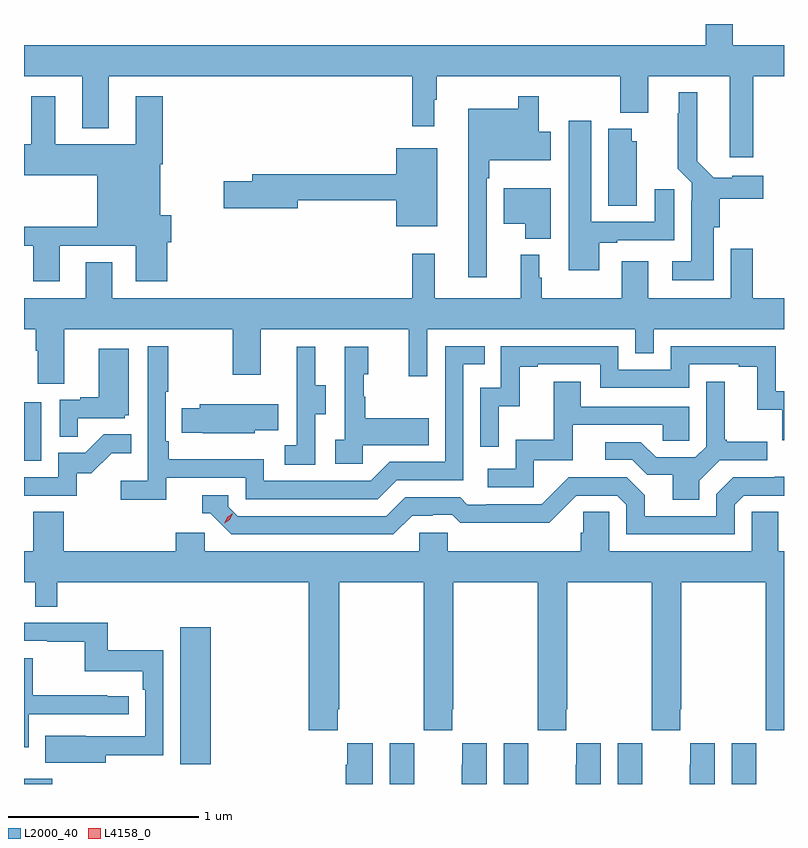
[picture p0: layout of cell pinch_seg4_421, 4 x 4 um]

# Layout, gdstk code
import gdstk
lib = gdstk.Library(unit=1e-6, precision=1e-09)
def R(c, l, rs):  # rectangles x0, y0, x1, y1
    for r in rs: c.add(gdstk.rectangle(r[:2], r[2:], *l))
def P(c, l, *ps):  # polygons
    for p in ps: c.add(gdstk.Polygon(p, *l))
L2000_40 = (2000, 40)
L4158_0 = (4158, 0)

pinch_seg4_421 = lib.new_cell('pinch_seg4_421')
R(pinch_seg4_421, L2000_40, [(932.848,777.111,932.996,777.139), (933.671,777.216,933.832,777.937), (932.848,778.812,932.938,779.119)])
P(pinch_seg4_421, L2000_40, [(936.686,780.836),(936.848,780.836),(936.848,781),(936.577,781),(936.577,781.111),(936.437,781.111),(936.437,781),(932.848,781),(932.848,780.836),(933.155,780.836),(933.155,780.563),(933.295,780.563),(933.295,780.836),(934.891,780.836),(934.891,780.573),(935.008,780.573),(935.008,780.713),(935.02,780.713),(935.02,780.836),(935.986,780.836),(935.986,780.644),(936.133,780.644),(936.133,780.836),(936.563,780.836),(936.563,780.411),(936.686,780.411)],
  [(936.478,780.042),(936.509,780.042),(936.509,780.191),(936.739,780.191),(936.739,780.313),(936.576,780.313),(936.576,780.301),(936.477,780.301),(936.391,780.388),(936.391,780.751),(936.293,780.751),(936.293,780.641),(936.289,780.641),(936.289,780.35),(936.363,780.276),(936.363,780.182),(936.359,780.182),(936.359,779.863),(936.261,779.863),(936.261,779.762),(936.478,779.762)],
  [(933.037,779.943),(933.437,779.943),(933.437,779.757),(933.602,779.757),(933.602,779.962),(933.622,779.962),(933.622,780.104),(933.565,780.104),(933.565,780.374),(933.578,780.374),(933.578,780.73),(933.437,780.73),(933.437,780.478),(933.013,780.478),(933.013,780.73),(932.885,780.73),(932.885,780.478),(932.848,780.478),(932.848,780.314),(933.233,780.314),(933.233,780.044),(932.848,780.044),(932.848,779.943),(932.897,779.943),(932.897,779.757),(933.037,779.757)],
  [(935.283,780.299),(935.296,780.299),(935.296,780.395),(935.62,780.395),(935.62,780.543),(935.557,780.543),(935.557,780.73),(935.448,780.73),(935.448,780.664),(935.186,780.664),(935.186,779.778),(935.283,779.778)],
  [(935.875,779.961),(935.971,779.961),(935.971,779.973),(936.271,779.973),(936.271,780.241),(936.167,780.241),(936.167,780.069),(935.833,780.069),(935.833,780.601),(935.714,780.601),(935.714,779.814),(935.875,779.814)],
  [(936.073,780.495),(936.046,780.495),(936.046,780.559),(935.924,780.559),(935.924,780.154),(936.073,780.154)],
  [(935.023,780.457),(934.808,780.457),(934.808,780.32),(934.049,780.32),(934.049,780.284),(933.9,780.284),(933.9,780.142),(934.288,780.142),(934.288,780.184),(934.808,780.184),(934.808,780.047),(935.023,780.047)],
  [(935.62,780.247),(935.372,780.247),(935.372,780.059),(935.486,780.059),(935.486,779.981),(935.62,779.981)],
  [(933.061,779.504),(933.946,779.504),(933.946,779.265),(934.093,779.265),(934.093,779.504),(934.874,779.504),(934.874,779.256),(934.971,779.256),(934.971,779.504),(936.066,779.504),(936.066,779.377),(936.162,779.377),(936.162,779.504),(936.848,779.504),(936.848,779.668),(936.683,779.668),(936.683,779.929),(936.567,779.929),(936.567,779.668),(936.133,779.668),(936.133,779.863),(935.993,779.863),(935.993,779.668),(935.572,779.668),(935.572,779.775),(935.56,779.775),(935.56,779.896),(935.462,779.896),(935.462,779.668),(935.009,779.668),(935.009,779.902),(934.891,779.902),(934.891,779.668),(933.313,779.668),(933.313,779.858),(933.173,779.858),(933.173,779.668),(932.848,779.668),(932.848,779.504),(932.909,779.504),(932.909,779.392),(932.921,779.392),(932.921,779.218),(933.061,779.218)],
  [(933.596,778.722),(934.014,778.722),(934.014,778.611),(934.711,778.611),(934.81,778.71),(935.16,778.71),(935.16,779.319),(935.273,779.319),(935.273,779.415),(935.064,779.415),(935.064,778.806),(934.773,778.806),(934.674,778.707),(934.11,778.707),(934.11,778.819),(933.611,778.819),(933.611,778.915),(933.594,778.915),(933.594,779.176),(933.607,779.176),(933.607,779.416),(933.498,779.416),(933.498,778.708),(933.357,778.708),(933.357,778.606),(933.596,778.606)],
  [(935.346,779.099),(935.456,779.099),(935.456,779.307),(935.551,779.307),(935.551,779.319),(935.88,779.319),(935.88,779.196),(936.348,779.196),(936.348,779.319),(936.611,779.319),(936.611,779.307),(936.707,779.307),(936.707,779.081),(936.84,779.081),(936.84,778.92),(936.848,778.92),(936.848,779.179),(936.804,779.179),(936.804,779.415),(936.252,779.415),(936.252,779.292),(935.976,779.292),(935.976,779.415),(935.358,779.415),(935.358,779.196),(935.25,779.196),(935.25,778.887),(935.346,778.887)],
  [(934.38,779.056),(934.435,779.056),(934.435,779.211),(934.381,779.211),(934.381,779.413),(934.283,779.413),(934.283,779.199),(934.284,779.199),(934.284,778.895),(934.221,778.895),(934.221,778.792),(934.38,778.792)],
  [(934.632,778.895),(934.979,778.895),(934.979,779.035),(934.645,779.035),(934.645,779.15),(934.635,779.15),(934.635,779.268),(934.66,779.268),(934.66,779.413),(934.536,779.413),(934.536,778.922),(934.485,778.922),(934.485,778.797),(934.632,778.797)],
  [(933.131,779.037),(933.378,779.037),(933.378,779.052),(933.4,779.052),(933.4,779.401),(933.242,779.401),(933.242,779.146),(933.143,779.146),(933.143,779.133),(933.036,779.133),(933.036,778.939),(933.131,778.939)],
  [(936.403,778.708),(936.51,778.815),(936.76,778.815),(936.76,778.912),(936.547,778.912),(936.547,778.924),(936.535,778.924),(936.535,779.227),(936.438,779.227),(936.438,778.887),(936.381,778.83),(936.175,778.83),(936.094,778.911),(935.907,778.911),(935.907,778.818),(936.048,778.818),(936.128,778.738),(936.263,778.738),(936.263,778.606),(936.403,778.606)],
  [(935.532,778.815),(935.737,778.815),(935.737,779.001),(936.211,779.001),(936.211,778.917),(936.348,778.917),(936.348,779.097),(935.779,779.097),(935.779,779.227),(935.635,779.227),(935.635,778.924),(935.436,778.924),(935.436,778.77),(935.289,778.77),(935.289,778.674),(935.532,778.674)],
  [(934.062,778.973),(934.187,778.973),(934.187,779.11),(933.773,779.11),(933.773,779.088),(933.679,779.088),(933.679,778.959),(933.79,778.959),(933.79,778.958),(934.062,778.958)],
  [(933.126,778.746),(933.202,778.746),(933.309,778.853),(933.413,778.853),(933.413,778.952),(933.269,778.952),(933.171,778.854),(933.027,778.854),(933.027,778.725),(932.848,778.725),(932.848,778.629),(933.126,778.629)],
  [(934.891,778.524),(934.998,778.524),(934.998,778.527),(935.101,778.527),(935.143,778.485),(935.376,778.485),(935.376,778.487),(935.612,778.487),(935.754,778.629),(935.97,778.629),(936.018,778.581),(936.018,778.425),(936.588,778.425),(936.588,778.581),(936.636,778.629),(936.848,778.629),(936.848,778.727),(936.798,778.727),(936.798,778.725),(936.582,778.725),(936.492,778.635),(936.492,778.521),(936.115,778.521),(936.115,778.631),(936.021,778.725),(935.715,778.725),(935.574,778.584),(935.281,778.584),(935.281,778.581),(935.182,778.581),(935.143,778.62),(934.854,778.62),(934.755,778.521),(933.972,778.521),(933.924,778.569),(933.924,778.632),(933.785,778.632),(933.785,778.536),(933.828,778.536),(933.939,778.425),(934.792,778.425)],
  [(934.499,777.505),(934.506,777.505),(934.506,778.172),(934.951,778.172),(934.951,777.505),(934.953,777.505),(934.953,777.393),(935.103,777.393),(935.103,777.505),(935.106,777.505),(935.106,778.172),(935.551,778.172),(935.551,777.505),(935.553,777.505),(935.553,777.393),(935.703,777.393),(935.703,777.505),(935.706,777.505),(935.706,778.172),(936.151,778.172),(936.151,777.505),(936.153,777.505),(936.153,777.393),(936.303,777.393),(936.303,777.505),(936.306,777.505),(936.306,778.172),(936.751,778.172),(936.751,777.505),(936.753,777.505),(936.753,777.393),(936.848,777.393),(936.848,778.336),(936.817,778.336),(936.817,778.544),(936.678,778.544),(936.678,778.336),(935.928,778.336),(935.928,778.544),(935.791,778.544),(935.791,778.434),(935.777,778.434),(935.777,778.336),(935.079,778.336),(935.079,778.434),(934.929,778.434),(934.929,778.336),(933.798,778.336),(933.798,778.434),(933.647,778.434),(933.647,778.336),(933.056,778.336),(933.056,778.544),(932.896,778.544),(932.896,778.336),(932.848,778.336),(932.848,778.172),(932.907,778.172),(932.907,778.045),(933.023,778.045),(933.023,778.172),(934.346,778.172),(934.346,777.393),(934.499,777.393)],
  [(933.277,777.262),(933.582,777.262),(933.582,777.814),(933.289,777.814),(933.289,777.96),(932.848,777.96),(932.848,777.864),(932.971,777.864),(932.971,777.859),(933.168,777.859),(933.168,777.704),(933.473,777.704),(933.473,777.608),(933.486,777.608),(933.486,777.363),(933.173,777.363),(933.173,777.364),(932.959,777.364),(932.959,777.224),(933.277,777.224)],
  [(932.874,777.477),(933.4,777.477),(933.4,777.573),(933.287,777.573),(933.287,777.578),(932.894,777.578),(932.894,777.774),(932.848,777.774),(932.848,777.305),(932.874,777.305)],
  [(935.884,777.325),(935.754,777.325),(935.754,777.212),(935.753,777.212),(935.753,777.111),(935.884,777.111)],
  [(936.103,777.212),(936.102,777.212),(936.102,777.325),(935.972,777.325),(935.972,777.111),(936.103,777.111)],
  [(936.484,777.325),(936.354,777.325),(936.354,777.212),(936.353,777.212),(936.353,777.111),(936.484,777.111)],
  [(936.703,777.212),(936.702,777.212),(936.702,777.325),(936.572,777.325),(936.572,777.111),(936.703,777.111)],
  [(935.503,777.212),(935.502,777.212),(935.502,777.325),(935.372,777.325),(935.372,777.111),(935.503,777.111)],
  [(935.284,777.325),(935.154,777.325),(935.154,777.212),(935.153,777.212),(935.153,777.111),(935.284,777.111)],
  [(934.903,777.212),(934.902,777.212),(934.902,777.325),(934.772,777.325),(934.772,777.111),(934.903,777.111)],
  [(934.684,777.325),(934.55,777.325),(934.55,777.212),(934.541,777.212),(934.541,777.111),(934.684,777.111)])
P(pinch_seg4_421, L4158_0, [(933.901,778.483),(933.901,778.483),(933.917,778.516),(933.947,778.536),(933.947,778.536),(933.947,778.536),(933.932,778.503),(933.901,778.483)])

lib.write_gds('pinch_seg4_421.gds')
